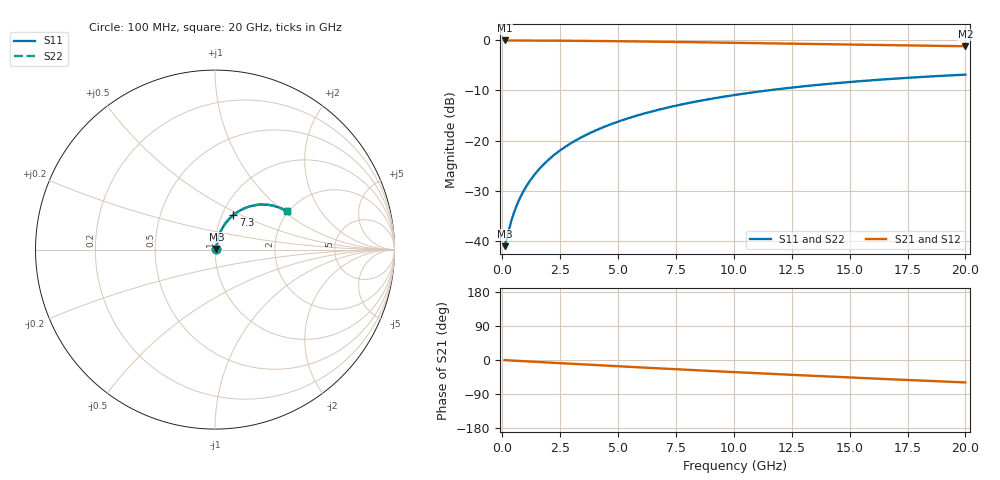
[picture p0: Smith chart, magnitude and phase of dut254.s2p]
! Touchstone file exported from HFSS 2026.1.0
!  File:  C:/ffzhzh/LocalFiles/Ansys_Project_Files/temp_train_BSMRDL_254_1782988648_45328.aedt
!  Generated:  06:38:51 PM Jul  2, 2026
!  Design:  BSMRDL
!  Project:  temp_train_BSMRDL_254_1782988648_45328
! Variables:
!  h_bsmrdl = 3.75um
!  h_ox = 20um
!  h_rdl = 5um
!  h_sub = 80um
!  h_tmrdl = 5um
!  h_tsv = 80um
!  h_via = 3um
!  l_bsmrdl = 984.65um
!  l_sub = 1384.65um
!  l_tmrdl = 200um
!  m_sub = 200um
!  pitch = 26.07um
!  r_tsv = 6um
!  s_tmrdl = 10um
!  w_bsmrdl = 11.25um
!  w_sub = 500um
!  w_tmrdl = 12um
!  x_tsv_center1 = 206um
!  x_tsv_center2 = 1201.9um
!  x_tsv_center3 = 1413.9um
!  x_tsv_center4 = 2409.8um
!  x_tsv_center5 = 2621.8um
!  x_tsv_center6 = 3617.7um
# GHz S MA R 50.000000
! Terminal data exported
! Port[1] = BSM_RDL1_1_T1
! Port[2] = BSM_RDL1_1_T2
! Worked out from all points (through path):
!   200 points, 100 MHz to 20 GHz, reference 50 ohm
!   highest |S21| = -0.07 dB at 100 MHz (marker M1); lowest = -1.2 dB at 20 GHz (marker M2)
!   group delay of S21, straight-line fit = 8.22 ps
!   lowest |S11| = -41.0 dB at 100 MHz (marker M3), VSWR 1.02, Z = 50.8 + j0.35 ohm
!   |S11| at or under -10 dB: start of sweep to 11.49 GHz
!   |S22| runs from -41.0 to -6.9 dB; largest |S21 - S12| = 3.5e-15
!   S11 on the Smith chart (normalised r, x): 100 MHz: 1.02, +0.01; 7.3 GHz: 1.13, +0.46; 20 GHz: 1.96, +1.05
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0.1  0.008902 22.7  0.9918 -0.4  0.9918 -0.4  0.008902 22.7
! Gamma 0 0 0 0
! Port Impedance 50 0 50 0
0.4  0.01614 55.8  0.9912 -1.4  0.9912 -1.4  0.01614 55.8
0.6  0.02195 63.4  0.9907 -2.1  0.9907 -2.1  0.02195 63.4
0.7  0.02492 65.8  0.9905 -2.4  0.9905 -2.4  0.02492 65.8
0.9  0.03091 69.0  0.9901 -3.1  0.9901 -3.1  0.03091 69.0
1.2  0.04002 71.8  0.9895 -4.1  0.9895 -4.1  0.04002 71.8
1.4  0.04614 72.8  0.989 -4.7  0.989 -4.7  0.04614 72.9
1.7  0.05537 73.7  0.9884 -5.7  0.9884 -5.7  0.05536 73.7
2.2  0.07076 74.1  0.987 -7.4  0.987 -7.4  0.07076 74.1
2.8  0.08915 73.5  0.985 -9.3  0.985 -9.3  0.08914 73.6
3.5  0.1103 72.3  0.9823 -11.6  0.9823 -11.6  0.1103 72.3
4.2  0.1312 70.6  0.979 -13.9  0.979 -13.9  0.1312 70.7
5  0.1544 68.5  0.9748 -16.5  0.9748 -16.5  0.1544 68.6
5.9  0.1798 66.1  0.9694 -19.4  0.9694 -19.4  0.1798 66.1
6.8  0.2042 63.5  0.9636 -22.2  0.9636 -22.2  0.2042 63.5
7.3  0.2174 62.1  0.9602 -23.7  0.9602 -23.7  0.2174 62.1
8.6  0.2503 58.3  0.951 -27.7  0.951 -27.7  0.2503 58.4
10.1  0.2857 54.1  0.9398 -32.2  0.9398 -32.2  0.2857 54.1
11.7  0.3205 49.6  0.9275 -36.9  0.9275 -36.9  0.3205 49.7
13.4  0.3541 45.0  0.9145 -41.7  0.9145 -41.7  0.3541 45.1
16.7  0.4097 36.3  0.8904 -50.7  0.8904 -50.7  0.4097 36.5
20  0.4532 28.1  0.8691 -59.2  0.8691 -59.2  0.4531 28.2
